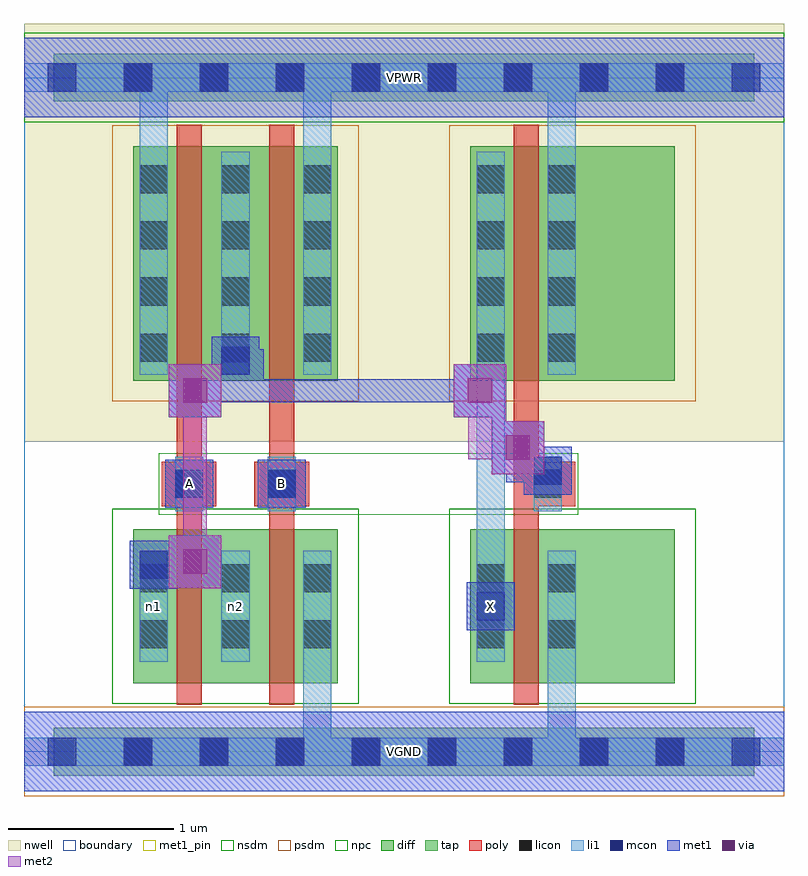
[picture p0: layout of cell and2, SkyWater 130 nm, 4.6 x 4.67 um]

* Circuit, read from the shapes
.subckt and2 A B VGND VPWR X n1 n2
XM1 n2 A n1 VGND sky130_fd_pr__nfet_01v8 w=0.93 l=0.15
XM2 VGND B n2 VGND sky130_fd_pr__nfet_01v8 w=0.93 l=0.15
XM3 VGND n1 X VGND sky130_fd_pr__nfet_01v8 w=0.93 l=0.15
XM4 n1 A VPWR VPWR sky130_fd_pr__pfet_01v8 w=1.42 l=0.15
XM5 VPWR B n1 VPWR sky130_fd_pr__pfet_01v8 w=1.42 l=0.15
XM6 VPWR n1 X VPWR sky130_fd_pr__pfet_01v8 w=1.42 l=0.15
.ends

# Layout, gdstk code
import gdstk
lib = gdstk.Library(unit=1e-6, precision=1e-09)
def R(c, l, rs):  # rectangles x0, y0, x1, y1
    for r in rs: c.add(gdstk.rectangle(r[:2], r[2:], *l))
def A(c, l, x, y, w, h, nx, ny, dx, dy):  # array of equal rectangles
    R(c, l, [(x+i*dx, y+j*dy, x+i*dx+w, y+j*dy+h) for i in range(nx) for j in range(ny)])
nwell = (64, 20)
diff = (65, 20)
tap = (65, 44)
poly = (66, 20)
licon = (66, 44)
li1 = (67, 20)
mcon = (67, 44)
met1_pin = (68, 16)
met1 = (68, 20)
via = (68, 44)
met2 = (69, 20)
nsdm = (93, 44)
psdm = (94, 20)
npc = (95, 20)
boundary = (235, 4)

and2 = lib.new_cell('and2')
R(and2, nwell, [(0,1.875,4.6,4.405)])
R(and2, diff, [(0.66,0.415,1.9,1.345), (2.7,0.415,3.94,1.345), (0.66,2.245,1.9,3.665), (2.7,2.245,3.94,3.665)])
R(and2, tap, [(0.18,-0.145,4.42,0.145), (0.18,3.935,4.42,4.225)])
R(and2, poly, [(0.925,0.285,1.075,3.795), (1.485,0.285,1.635,3.795), (2.965,0.285,3.115,3.795), (0.835,1.485,1.165,1.755), (1.395,1.485,1.725,1.755), (3.005,1.485,3.335,1.755)])
A(and2, licon, 0.605, -0.085, 0.17, 0.17, 8, 2, 0.46, 4.08)
A(and2, licon, 0.7, 0.625, 0.17, 0.17, 3, 2, 0.495, 0.34)
A(and2, licon, 0.7, 2.36, 0.17, 0.17, 3, 4, 0.495, 0.34)
A(and2, licon, 2.74, 2.36, 0.17, 0.17, 1, 4, 0, 0.34)
A(and2, licon, 3.17, 2.36, 0.17, 0.17, 1, 4, 0, 0.34)
R(and2, licon, [(2.74,0.625,2.91,0.795), (3.17,0.625,3.34,0.795), (2.74,0.965,2.91,1.135), (3.17,0.965,3.34,1.135), (0.915,1.535,1.085,1.705), (1.475,1.535,1.645,1.705), (3.085,1.535,3.255,1.705)])
A(and2, li1, 0.7, 0.545, 0.17, 0.67, 3, 1, 0.495, 0)
A(and2, li1, 0.7, 2.28, 0.17, 1.35, 3, 1, 0.495, 0)
R(and2, li1, [(0,-0.085,4.6,0.085), (1.69,-0.085,1.86,1.215), (3.17,-0.085,3.34,1.215), (2.74,0.545,2.91,1.215), (2.74,0.545,2.91,3.63), (3.17,0.545,3.34,1.215), (0.915,1.455,1.085,1.785), (1.475,1.455,1.645,1.785), (3.085,1.455,3.255,1.785), (0.7,2.28,0.87,4.165), (1.69,2.28,1.86,4.165), (2.74,2.28,2.91,3.63), (3.17,2.28,3.34,3.63), (3.17,2.28,3.34,4.165), (0,3.995,4.6,4.165)])
A(and2, mcon, 0.145, -0.085, 0.17, 0.17, 10, 2, 0.46, 4.08)
R(and2, mcon, [(2.74,0.795,2.91,0.965), (0.7,1.045,0.87,1.215), (0.915,1.535,1.085,1.705), (1.475,1.535,1.645,1.705), (3.085,1.615,3.255,1.785), (1.195,2.28,1.365,2.45)])
R(and2, met1_pin, [(0,-0.24,4.6,0.24), (2.68,0.735,2.97,1.025), (0.855,1.475,1.145,1.765), (1.415,1.475,1.705,1.765), (0,3.84,4.6,4.32)])
R(and2, met1, [(0,-0.24,4.6,0.24), (2.68,0.735,2.97,1.025), (0.64,0.985,0.93,1.275), (0.875,0.99,1.195,1.31), (0.715,1.06,0.99,1.2), (0.85,1.06,0.99,1.22), (0.85,1.08,1.105,1.22), (0.855,1.475,1.145,1.765), (1.415,1.475,1.705,1.765), (3.025,1.555,3.315,1.845), (2.92,1.63,3.24,1.77), (2.92,1.63,3.06,1.91), (2.83,1.68,3.15,2), (2.83,2,2.92,2.025), (0.875,2.025,1.195,2.345), (2.6,2.025,2.92,2.345), (0.965,2.115,1.45,2.255), (1.195,2.115,1.31,2.345), (1.31,2.115,1.45,2.435), (1.31,2.115,2.83,2.255), (1.135,2.22,1.425,2.51), (1.21,2.255,1.45,2.295), (1.21,2.295,1.45,2.435), (0,3.84,4.6,4.32)])
R(and2, via, [(0.96,1.075,1.11,1.225), (2.915,1.765,3.065,1.915), (0.96,2.11,1.11,2.26), (2.685,2.11,2.835,2.26)])
R(and2, met2, [(0.875,0.99,1.195,1.31), (0.965,1.08,1.105,2.255), (2.83,1.68,3.15,2), (2.69,1.77,3.06,1.91), (2.69,1.77,2.83,2.255), (2.69,1.91,2.92,2.025), (2.83,2,2.92,2.025), (0.875,2.025,1.195,2.345), (2.6,2.025,2.92,2.345)])
R(and2, nsdm, [(0.535,0.29,2.025,1.47), (2.575,0.29,4.065,1.47), (0,3.81,4.6,4.35)])
R(and2, psdm, [(0,-0.27,4.6,0.27), (0.535,2.12,2.025,3.79), (2.575,2.12,4.065,3.79)])
R(and2, npc, [(0.815,1.435,3.355,1.805)])
R(and2, boundary, [(0,0,4.6,4.08)])
and2.add(gdstk.Label('n1', (0.785,0.88), layer=67, texttype=5))
and2.add(gdstk.Label('n2', (1.28,0.88), layer=67, texttype=5))
and2.add(gdstk.Label('A', (1,1.62), layer=68, texttype=5))
and2.add(gdstk.Label('B', (1.56,1.62), layer=68, texttype=5))
and2.add(gdstk.Label('X', (2.825,0.88), layer=68, texttype=5))
and2.add(gdstk.Label('VPWR', (2.3,4.08), layer=68, texttype=5))
and2.add(gdstk.Label('VGND', (2.3,0), layer=68, texttype=5))
and2.add(gdstk.Label('A', (1,1.62), layer=68, texttype=16))
and2.add(gdstk.Label('B', (1.56,1.62), layer=68, texttype=16))
and2.add(gdstk.Label('X', (2.825,0.88), layer=68, texttype=16))
and2.add(gdstk.Label('VPWR', (2.3,4.08), layer=68, texttype=16))
and2.add(gdstk.Label('VGND', (2.3,0), layer=68, texttype=16))

lib.write_gds('and2.gds')
